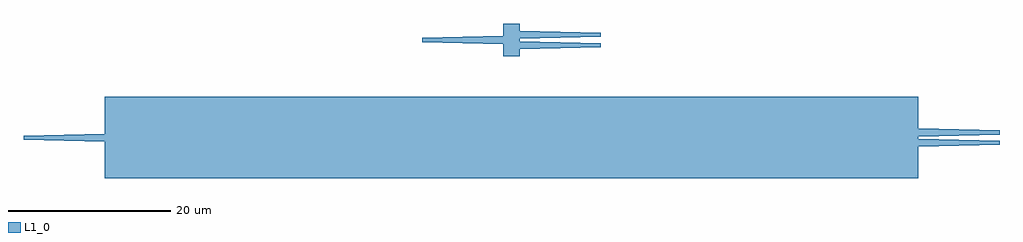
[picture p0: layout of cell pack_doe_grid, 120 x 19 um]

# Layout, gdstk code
import gdstk
lib = gdstk.Library(unit=1e-6, precision=1e-09)
def R(c, l, rs):  # rectangles x0, y0, x1, y1
    for r in rs: c.add(gdstk.rectangle(r[:2], r[2:], *l))
def P(c, l, *ps):  # polygons
    for p in ps: c.add(gdstk.Polygon(p, *l))
L1_0 = (1, 0)

mmi1x2_5329808d = lib.new_cell('mmi1x2_5329808d')
R(mmi1x2_5329808d, L1_0, [(-1,-2,1,2)])
P(mmi1x2_5329808d, L1_0, [(-11,0.25),(-1,0.5),(-1,-0.5),(-11,-0.25)],
  [(11,0.375),(1,0.125),(1,1.125),(11,0.875)],
  [(11,-0.875),(1,-1.125),(1,-0.125),(11,-0.375)])

mmi1x2_bf444554 = lib.new_cell('mmi1x2_bf444554')
R(mmi1x2_bf444554, L1_0, [(-50,-5,50,5)])
P(mmi1x2_bf444554, L1_0, [(-60,0.25),(-50,0.5),(-50,-0.5),(-60,-0.25)],
  [(60,0.375),(50,0.125),(50,1.125),(60,0.875)],
  [(60,-0.875),(50,-1.125),(50,-0.125),(60,-0.375)])

pack_doe_grid = lib.new_cell('pack_doe_grid')
pack_doe_grid.add(gdstk.Reference(mmi1x2_5329808d, (0,12)))
pack_doe_grid.add(gdstk.Reference(mmi1x2_bf444554, (0,0)))

lib.write_gds('pack_doe_grid.gds')
